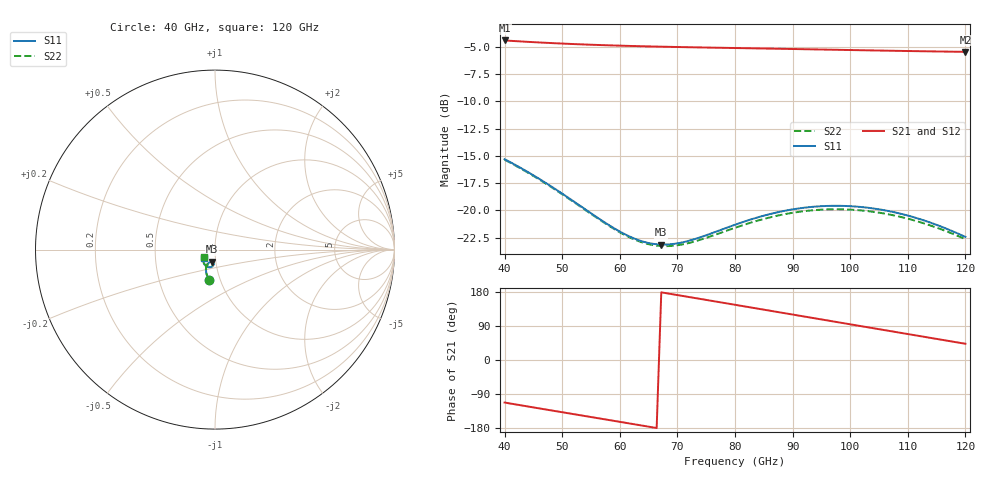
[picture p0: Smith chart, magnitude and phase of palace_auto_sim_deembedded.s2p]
! Created with skrf 1.11.0 (http://scikit-rf.org).
# GHz S DB R 50.0
!freq dBS11 angS11 dBS21 angS21 dBS12 angS12 dBS22 angS22
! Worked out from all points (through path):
!   101 points, 40 GHz to 120 GHz, reference 50 ohm
!   highest |S21| = -4.42 dB at 40 GHz (marker M1); lowest = -5.5 dB at 120 GHz (marker M2)
!   group delay of S21, straight-line fit = 7.12 ps
!   lowest |S11| = -23.1 dB at 67.2 GHz (marker M3), VSWR 1.15, Z = 47.9 - j6.52 ohm
!   |S11| at or under -10 dB: start of sweep to end of sweep
!   |S22| runs from -23.3 to -15.4 dB; largest |S21 - S12| = 6.9e-14
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40  -15.30 -100.4  -4.42 -112.3  -4.42 -112.3  -15.35 -100.7
43.2  -16.22 -105.9  -4.53 -120.5  -4.53 -120.5  -16.28 -106.3
47.2  -17.50 -111.6  -4.64 -130.7  -4.64 -130.7  -17.56 -112.2
53.6  -19.75 -116.8  -4.79 -147.0  -4.79 -147.0  -19.81 -117.6
57.6  -21.17 -116.4  -4.86 -157.1  -4.86 -157.1  -21.23 -117.5
61.6  -22.37 -112.8  -4.92 -167.3  -4.92 -167.3  -22.44 -114.2
64.8  -22.96 -107.9  -4.97 -175.4  -4.97 -175.4  -23.07 -109.7
67.2  -23.13 -103.9  -4.99 178.5  -4.99 178.5  -23.26 -105.9
70.4  -22.98 -99.1  -5.03 170.3  -5.03 170.3  -23.16 -101.2
73.6  -22.52 -96.0  -5.06 162.1  -5.06 162.1  -22.75 -98.2
76.8  -21.93 -94.8  -5.09 153.9  -5.09 153.9  -22.18 -97.0
80  -21.31 -95.3  -5.12 145.7  -5.12 145.7  -21.59 -97.5
84  -20.63 -98.0  -5.15 135.4  -5.15 135.4  -20.92 -100.2
87.2  -20.19 -101.2  -5.18 127.2  -5.18 127.2  -20.50 -103.4
90.4  -19.87 -105.1  -5.21 118.9  -5.21 118.9  -20.18 -107.3
93.6  -19.66 -109.4  -5.24 110.7  -5.24 110.7  -19.98 -111.7
96.8  -19.58 -113.9  -5.27 102.4  -5.27 102.4  -19.89 -116.3
100  -19.61 -118.6  -5.30 94.2  -5.30 94.2  -19.92 -121.1
103.2  -19.76 -123.2  -5.33 86.0  -5.33 86.0  -20.07 -125.8
107.2  -20.11 -128.7  -5.37 75.7  -5.37 75.7  -20.41 -131.4
113.6  -21.05 -136.2  -5.42 59.3  -5.42 59.3  -21.32 -139.2
120  -22.42 -140.8  -5.47 42.8  -5.47 42.8  -22.63 -144.3
